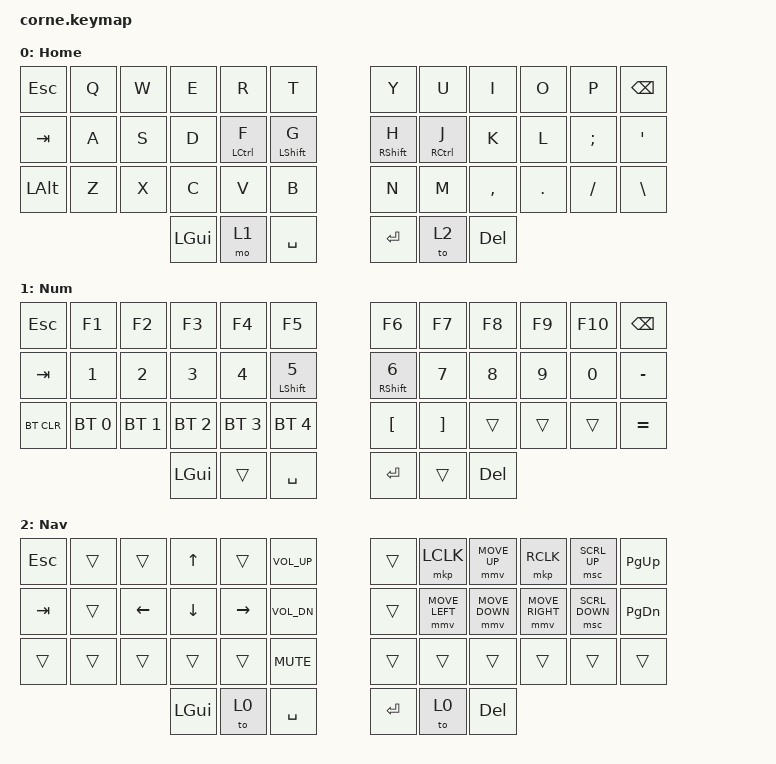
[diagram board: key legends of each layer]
/*
 * Copyright (c) 2020 The ZMK Contributors
 *
 * SPDX-License-Identifier: MIT
 */

#include <behaviors.dtsi>
#include <dt-bindings/zmk/bt.h>
#include <dt-bindings/zmk/keys.h>
#include <dt-bindings/zmk/pointing.h>

/ {
    keymap {
        compatible = "zmk,keymap";

        default_layer {
            // -----------------------------------------------------------------------------------------
            // |  TAB |  Q  |  W  |  E  |  R  |  T  |   |  Y  |  U   |  I  |  O  |  P  | BKSP |
            // | CTRL |  A  |  S  |  D  |  F  |  G  |   |  H  |  J   |  K  |  L  |  ;  |  '   |
            // | SHFT |  Z  |  X  |  C  |  V  |  B  |   |  N  |  M   |  ,  |  .  |  /  | ESC  |
            //                    | GUI | LWR | SPC |   | ENT | RSE  | ALT |

            display-name = "Home";
            bindings = <
&kp ESC       &kp Q  &kp W  &kp E     &kp R               &kp T               &kp Y              &kp U                &kp I       &kp O    &kp P     &kp BSPC
&kp TAB       &kp A  &kp S  &kp D     &mt LEFT_CONTROL F  &mt LEFT_SHIFT G    &mt RIGHT_SHIFT H  &mt RIGHT_CONTROL J  &kp K       &kp L    &kp SEMI  &kp SQT
&kp LEFT_ALT  &kp Z  &kp X  &kp C     &kp V               &kp B               &kp N              &kp M                &kp COMMA   &kp DOT  &kp FSLH  &kp BACKSLASH
                            &kp LGUI  &mo 1               &kp SPACE           &kp RET            &to 2                &kp DELETE
            >;
        };

        lower_layer {
            // -----------------------------------------------------------------------------------------
            // |  TAB |  1  |  2  |  3  |  4  |  5  |   |  6  |  7  |  8  |  9  |  0  | BKSP |
            // | BTCLR| BT1 | BT2 | BT3 | BT4 | BT5 |   | LFT | DWN |  UP | RGT |     |      |
            // | SHFT |     |     |     |     |     |   |     |     |     |     |     |      |
            //                    | GUI |     | SPC |   | ENT |     | ALT |

            display-name = "Num";
            bindings = <
&kp ESCAPE  &kp F1        &kp F2        &kp F3        &kp F4        &kp F5               &kp F6                    &kp F7             &kp F8   &kp F9  &kp F10  &kp BSPC
&kp TAB     &kp NUMBER_1  &kp NUMBER_2  &kp NUMBER_3  &kp NUMBER_4  &mt LEFT_SHIFT N5    &mt RIGHT_SHIFT NUMBER_6  &kp N7             &kp N8   &kp N9  &kp N0   &kp MINUS
&bt BT_CLR  &bt BT_SEL 0  &bt BT_SEL 1  &bt BT_SEL 2  &bt BT_SEL 3  &bt BT_SEL 4         &kp LEFT_BRACKET          &kp RIGHT_BRACKET  &trans   &trans  &trans   &kp EQUAL
                                        &kp LGUI      &trans        &kp SPACE            &kp RET                   &trans             &kp DEL
            >;
        };

        raise_layer {
            // -----------------------------------------------------------------------------------------
            // |  TAB |  !  |  @  |  #  |  $  |  %  |   |  ^  |  &  |  *  |  (  |  )  | BKSP |
            // | CTRL |     |     |     |     |     |   |  -  |  =  |  [  |  ]  |  \  |  `   |
            // | SHFT |     |     |     |     |     |   |  _  |  +  |  {  |  }  | "|" |  ~   |
            //                    | GUI |     | SPC |   | ENT |     | ALT |

            display-name = "Nav";
            bindings = <
&kp ESCAPE  &trans  &trans          &kp UP_ARROW    &trans           &kp C_VOL_UP    &trans   &mkp LCLK       &mmv MOVE_UP    &mkp RCLK        &msc SCRL_UP    &kp PAGE_UP
&kp TAB     &trans  &kp LEFT_ARROW  &kp DOWN_ARROW  &kp RIGHT_ARROW  &kp C_VOL_DN    &trans   &mmv MOVE_LEFT  &mmv MOVE_DOWN  &mmv MOVE_RIGHT  &msc SCRL_DOWN  &kp PAGE_DOWN
&trans      &trans  &trans          &trans          &trans           &kp C_MUTE      &trans   &trans          &trans          &trans           &trans          &trans
                                    &kp LGUI        &to 0            &kp SPACE       &kp RET  &to 0           &kp DEL
            >;
        };

        extra_1 { status = "reserved"; };

        extra_2 { status = "reserved"; };

        extra_3 { status = "reserved"; };
    };
};
